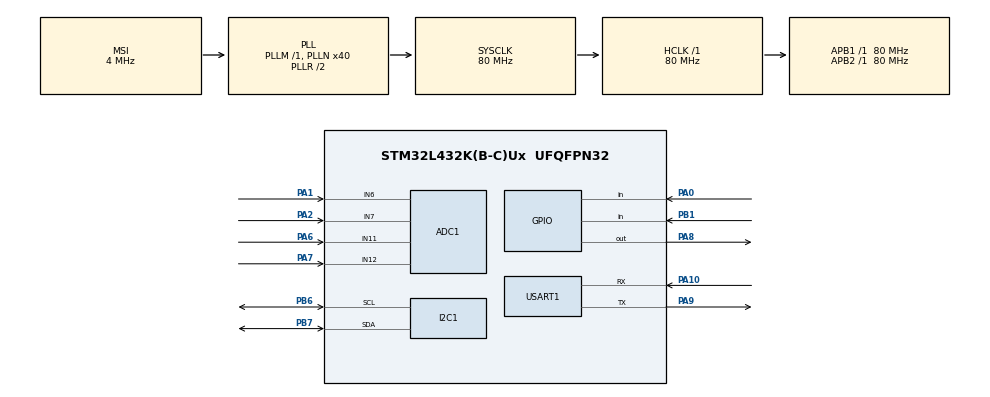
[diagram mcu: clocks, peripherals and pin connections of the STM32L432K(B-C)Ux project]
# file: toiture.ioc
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ADC1.Channel-0\#ChannelRegularConversion=ADC_CHANNEL_11
ADC1.Channel-1\#ChannelRegularConversion=ADC_CHANNEL_6
ADC1.ContinuousConvMode=ENABLE
ADC1.NbrOfConversion=2
ADC1.NbrOfConversionFlag=1
ADC1.OffsetNumber-0\#ChannelRegularConversion=ADC_OFFSET_NONE
ADC1.OffsetNumber-1\#ChannelRegularConversion=ADC_OFFSET_NONE
ADC1.Rank-0\#ChannelRegularConversion=1
ADC1.Rank-1\#ChannelRegularConversion=2
ADC1.SamplingTime-0\#ChannelRegularConversion=ADC_SAMPLETIME_2CYCLES_5
ADC1.SamplingTime-1\#ChannelRegularConversion=ADC_SAMPLETIME_2CYCLES_5
ADC1.SingleDiff-0\#ChannelRegularConversion=ADC_DIFFERENTIAL_ENDED
ADC1.SingleDiff-1\#ChannelRegularConversion=ADC_DIFFERENTIAL_ENDED
ADC1.master=1
Mcu.Family=STM32L4
Mcu.Name=STM32L432K(B-C)Ux
Mcu.Package=UFQFPN32
NVIC.PriorityGroup=NVIC_PRIORITYGROUP_4
PA0.Signal=GPIO_Input
PA1.Signal=ADCx_IN6
PA10.Mode=Asynchronous
PA10.Signal=USART1_RX
PA13\ (JTMS-SWDIO).Mode=Trace_Asynchronous_SW
PA13\ (JTMS-SWDIO).Signal=SYS_JTMS-SWDIO
PA14\ (JTCK-SWCLK).Mode=Trace_Asynchronous_SW
PA14\ (JTCK-SWCLK).Signal=SYS_JTCK-SWCLK
PA2.Signal=ADCx_IN7
PA6.Signal=ADCx_IN11
PA7.Signal=ADCx_IN12
PA8.Signal=GPIO_Output
PA9.Mode=Asynchronous
PA9.Signal=USART1_TX
PB1.Signal=GPIO_Input
PB3\ (JTDO-TRACESWO).Mode=Trace_Asynchronous_SW
PB3\ (JTDO-TRACESWO).Signal=SYS_JTDO-SWO
PB6.Mode=I2C
PB6.Signal=I2C1_SCL
PB7.Mode=I2C
PB7.Signal=I2C1_SDA
PC14-OSC32_IN\ (PC14).Mode=LSE-External-Oscillator
PC14-OSC32_IN\ (PC14).Signal=RCC_OSC32_IN
PC15-OSC32_OUT\ (PC15).Mode=LSE-External-Oscillator
PC15-OSC32_OUT\ (PC15).Signal=RCC_OSC32_OUT
ProjectManager.HeapSize=0x200
ProjectManager.StackSize=0x400
ProjectManager.TargetToolchain=MDK-ARM V5
RCC.ADCFreq_Value=32000000
RCC.AHBFreq_Value=80000000
RCC.APB1Freq_Value=80000000
RCC.APB1TimFreq_Value=80000000
RCC.APB2Freq_Value=80000000
RCC.APB2TimFreq_Value=80000000
RCC.CortexFreq_Value=80000000
RCC.HCLKFreq_Value=80000000
RCC.HSE_VALUE=8000000
RCC.HSI16_VALUE=16000000
RCC.HSI48_VALUE=48000000
RCC.HSI_VALUE=16000000
RCC.MSI_VALUE=4000000
RCC.PLLMUL=RCC_PLLMUL_4
RCC.PLLN=40
RCC.PLLSAI1N=16
RCC.SYSCLKFreq_VALUE=80000000
RCC.SYSCLKSource=RCC_SYSCLKSOURCE_PLLCLK
RCC.USBFreq_Value=32000000
RCC.VCOOutputFreq_Value=160000000
SH.ADCx_IN11.0=ADC1_IN11,IN11-Differential
SH.ADCx_IN12.0=ADC1_IN12,IN11-Differential
SH.ADCx_IN6.0=ADC1_IN6,IN6-Differential
SH.ADCx_IN7.0=ADC1_IN7,IN6-Differential
USART1.VirtualMode-Asynchronous=VM_ASYNC
board=NUCLEO-L432KC

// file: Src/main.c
/* USER CODE BEGIN Header */
/**
  ******************************************************************************
  * @file           : main.c
  * @brief          : Main program body
  ******************************************************************************
  * @attention
  *
  * <h2><center>&copy; Copyright (c) 2019 STMicroelectronics.
  * All rights reserved.</center></h2>
  *
  * This software component is licensed by ST under BSD 3-Clause license,
  * the "License"; You may not use this file except in compliance with the
  * License. You may obtain a copy of the License at:
  *                        opensource.org/licenses/BSD-3-Clause
  *
  ******************************************************************************
  */
/* USER CODE END Header */

#include "main.h"

/* USER CODE BEGIN Includes */
#include "DHT22.h"
#include "dwt_stm32_delay.h"
#include "TCS34725.h"
#include "ds18b20.h"
#include "sigfox.h"
#include <math.h>
/* USER CODE END Includes */

ADC_HandleTypeDef hadc1;

I2C_HandleTypeDef hi2c1;

UART_HandleTypeDef huart1;

/* USER CODE BEGIN PV */
uint8_t dht_hum_l, dht_hum_h, dht_tmp_l, dht_tmp_h;
uint16_t air_hum, soil_hum;
int16_t air_temp, soil_temp;
RGB rgb;
uint8_t lux;
uint32_t val_adc[2];
/* USER CODE END PV */

void SystemClock_Config(void);
static void MX_GPIO_Init(void);
static void MX_ADC1_Init(void);
static void MX_I2C1_Init(void);
static void MX_USART1_UART_Init(void);
/* USER CODE BEGIN PFP */
void user_init(void);
void read_sensors(void);
/* USER CODE END PFP */

int main(void)
{

  /* MCU Configuration--------------------------------------------------------*/

  /* Reset of all peripherals, Initializes the Flash interface and the Systick. */
  HAL_Init();

  /* USER CODE BEGIN Init */
	user_init();
  /* USER CODE END Init */

  /* Configure the system clock */
  SystemClock_Config();

  /* Initialize all configured peripherals */
  MX_GPIO_Init();
  MX_ADC1_Init();
  MX_I2C1_Init();
  MX_USART1_UART_Init();

  /* Infinite loop */
  while (1)
  {
		HAL_GPIO_WritePin(GPIOA, GPIO_PIN_8, GPIO_PIN_RESET);
		read_sensors();
		sigfox_send();
		HAL_GPIO_WritePin(GPIOA, GPIO_PIN_8, GPIO_PIN_SET);
		HAL_Delay(30000);	// Attendre 1 min
  }
}

void SystemClock_Config(void)
{
  RCC_OscInitTypeDef RCC_OscInitStruct = {0};
  RCC_ClkInitTypeDef RCC_ClkInitStruct = {0};
  RCC_PeriphCLKInitTypeDef PeriphClkInit = {0};

  /** Configure LSE Drive Capability
  */
  HAL_PWR_EnableBkUpAccess();
  __HAL_RCC_LSEDRIVE_CONFIG(RCC_LSEDRIVE_LOW);
  /** Initializes the CPU, AHB and APB busses clocks
  */
  RCC_OscInitStruct.OscillatorType = RCC_OSCILLATORTYPE_LSE|RCC_OSCILLATORTYPE_MSI;
  RCC_OscInitStruct.LSEState = RCC_LSE_ON;
  RCC_OscInitStruct.MSIState = RCC_MSI_ON;
  RCC_OscInitStruct.MSICalibrationValue = 0;
  RCC_OscInitStruct.MSIClockRange = RCC_MSIRANGE_6;
  RCC_OscInitStruct.PLL.PLLState = RCC_PLL_ON;
  RCC_OscInitStruct.PLL.PLLSource = RCC_PLLSOURCE_MSI;
  RCC_OscInitStruct.PLL.PLLM = 1;
  RCC_OscInitStruct.PLL.PLLN = 40;
  RCC_OscInitStruct.PLL.PLLP = RCC_PLLP_DIV7;
  RCC_OscInitStruct.PLL.PLLQ = RCC_PLLQ_DIV2;
  RCC_OscInitStruct.PLL.PLLR = RCC_PLLR_DIV2;
  if (HAL_RCC_OscConfig(&RCC_OscInitStruct) != HAL_OK)
  {
    Error_Handler();
  }
  /** Initializes the CPU, AHB and APB busses clocks
  */
  RCC_ClkInitStruct.ClockType = RCC_CLOCKTYPE_HCLK|RCC_CLOCKTYPE_SYSCLK
                              |RCC_CLOCKTYPE_PCLK1|RCC_CLOCKTYPE_PCLK2;
  RCC_ClkInitStruct.SYSCLKSource = RCC_SYSCLKSOURCE_PLLCLK;
  RCC_ClkInitStruct.AHBCLKDivider = RCC_SYSCLK_DIV1;
  RCC_ClkInitStruct.APB1CLKDivider = RCC_HCLK_DIV1;
  RCC_ClkInitStruct.APB2CLKDivider = RCC_HCLK_DIV1;

  if (HAL_RCC_ClockConfig(&RCC_ClkInitStruct, FLASH_LATENCY_4) != HAL_OK)
  {
    Error_Handler();
  }
  PeriphClkInit.PeriphClockSelection = RCC_PERIPHCLK_USART1|RCC_PERIPHCLK_I2C1
                              |RCC_PERIPHCLK_ADC;
  PeriphClkInit.Usart1ClockSelection = RCC_USART1CLKSOURCE_PCLK2;
  PeriphClkInit.I2c1ClockSelection = RCC_I2C1CLKSOURCE_PCLK1;
  PeriphClkInit.AdcClockSelection = RCC_ADCCLKSOURCE_PLLSAI1;
  PeriphClkInit.PLLSAI1.PLLSAI1Source = RCC_PLLSOURCE_MSI;
  PeriphClkInit.PLLSAI1.PLLSAI1M = 1;
  PeriphClkInit.PLLSAI1.PLLSAI1N = 16;
  PeriphClkInit.PLLSAI1.PLLSAI1P = RCC_PLLP_DIV7;
  PeriphClkInit.PLLSAI1.PLLSAI1Q = RCC_PLLQ_DIV2;
  PeriphClkInit.PLLSAI1.PLLSAI1R = RCC_PLLR_DIV2;
  PeriphClkInit.PLLSAI1.PLLSAI1ClockOut = RCC_PLLSAI1_ADC1CLK;
  if (HAL_RCCEx_PeriphCLKConfig(&PeriphClkInit) != HAL_OK)
  {
    Error_Handler();
  }
  /** Configure the main internal regulator output voltage
  */
  if (HAL_PWREx_ControlVoltageScaling(PWR_REGULATOR_VOLTAGE_SCALE1) != HAL_OK)
  {
    Error_Handler();
  }
  /** Enable MSI Auto calibration
  */
  HAL_RCCEx_EnableMSIPLLMode();
}

static void MX_ADC1_Init(void)
{

  ADC_ChannelConfTypeDef sConfig = {0};

  /** Common config
  */
  hadc1.Instance = ADC1;
  hadc1.Init.ClockPrescaler = ADC_CLOCK_ASYNC_DIV1;
  hadc1.Init.Resolution = ADC_RESOLUTION_12B;
  hadc1.Init.DataAlign = ADC_DATAALIGN_RIGHT;
  hadc1.Init.ScanConvMode = ADC_SCAN_ENABLE;
  hadc1.Init.EOCSelection = ADC_EOC_SINGLE_CONV;
  hadc1.Init.LowPowerAutoWait = DISABLE;
  hadc1.Init.ContinuousConvMode = ENABLE;
  hadc1.Init.NbrOfConversion = 2;
  hadc1.Init.DiscontinuousConvMode = DISABLE;
  hadc1.Init.ExternalTrigConv = ADC_SOFTWARE_START;
  hadc1.Init.ExternalTrigConvEdge = ADC_EXTERNALTRIGCONVEDGE_NONE;
  hadc1.Init.DMAContinuousRequests = DISABLE;
  hadc1.Init.Overrun = ADC_OVR_DATA_PRESERVED;
  hadc1.Init.OversamplingMode = DISABLE;
  if (HAL_ADC_Init(&hadc1) != HAL_OK)
  {
    Error_Handler();
  }
  /** Configure Regular Channel
  */
  sConfig.Channel = ADC_CHANNEL_6;
  sConfig.Rank = ADC_REGULAR_RANK_1;
  sConfig.SamplingTime = ADC_SAMPLETIME_2CYCLES_5;
  sConfig.SingleDiff = ADC_DIFFERENTIAL_ENDED;
  sConfig.OffsetNumber = ADC_OFFSET_NONE;
  sConfig.Offset = 0;
  if (HAL_ADC_ConfigChannel(&hadc1, &sConfig) != HAL_OK)
  {
    Error_Handler();
  }
  /** Configure Regular Channel
  */
  sConfig.Channel = ADC_CHANNEL_11;
  sConfig.Rank = ADC_REGULAR_RANK_2;
  if (HAL_ADC_ConfigChannel(&hadc1, &sConfig) != HAL_OK)
  {
    Error_Handler();
  }

}

static void MX_I2C1_Init(void)
{

  hi2c1.Instance = I2C1;
  hi2c1.Init.Timing = 0x10909CEC;
  hi2c1.Init.OwnAddress1 = 0;
  hi2c1.Init.AddressingMode = I2C_ADDRESSINGMODE_7BIT;
  hi2c1.Init.DualAddressMode = I2C_DUALADDRESS_DISABLE;
  hi2c1.Init.OwnAddress2 = 0;
  hi2c1.Init.OwnAddress2Masks = I2C_OA2_NOMASK;
  hi2c1.Init.GeneralCallMode = I2C_GENERALCALL_DISABLE;
  hi2c1.Init.NoStretchMode = I2C_NOSTRETCH_DISABLE;
  if (HAL_I2C_Init(&hi2c1) != HAL_OK)
  {
    Error_Handler();
  }
  /** Configure Analogue filter
  */
  if (HAL_I2CEx_ConfigAnalogFilter(&hi2c1, I2C_ANALOGFILTER_ENABLE) != HAL_OK)
  {
    Error_Handler();
  }
  /** Configure Digital filter
  */
  if (HAL_I2CEx_ConfigDigitalFilter(&hi2c1, 0) != HAL_OK)
  {
    Error_Handler();
  }

}

static void MX_USART1_UART_Init(void)
{

  huart1.Instance = USART1;
  huart1.Init.BaudRate = 9600;
  huart1.Init.WordLength = UART_WORDLENGTH_8B;
  huart1.Init.StopBits = UART_STOPBITS_1;
  huart1.Init.Parity = UART_PARITY_NONE;
  huart1.Init.Mode = UART_MODE_TX_RX;
  huart1.Init.HwFlowCtl = UART_HWCONTROL_NONE;
  huart1.Init.OverSampling = UART_OVERSAMPLING_16;
  huart1.Init.OneBitSampling = UART_ONE_BIT_SAMPLE_DISABLE;
  huart1.AdvancedInit.AdvFeatureInit = UART_ADVFEATURE_NO_INIT;
  if (HAL_UART_Init(&huart1) != HAL_OK)
  {
    Error_Handler();
  }

}

static void MX_GPIO_Init(void)
{
  GPIO_InitTypeDef GPIO_InitStruct = {0};

  /* GPIO Ports Clock Enable */
  __HAL_RCC_GPIOC_CLK_ENABLE();
  __HAL_RCC_GPIOA_CLK_ENABLE();
  __HAL_RCC_GPIOB_CLK_ENABLE();

  /*Configure GPIO pin Output Level */
  HAL_GPIO_WritePin(GPIOA, GPIO_PIN_8, GPIO_PIN_RESET);

  /*Configure GPIO pin : PA0 */
  GPIO_InitStruct.Pin = GPIO_PIN_0;
  GPIO_InitStruct.Mode = GPIO_MODE_INPUT;
  GPIO_InitStruct.Pull = GPIO_NOPULL;
  HAL_GPIO_Init(GPIOA, &GPIO_InitStruct);

  /*Configure GPIO pin : PB1 */
  GPIO_InitStruct.Pin = GPIO_PIN_1;
  GPIO_InitStruct.Mode = GPIO_MODE_INPUT;
  GPIO_InitStruct.Pull = GPIO_NOPULL;
  HAL_GPIO_Init(GPIOB, &GPIO_InitStruct);

  /*Configure GPIO pin : PA8 */
  GPIO_InitStruct.Pin = GPIO_PIN_8;
  GPIO_InitStruct.Mode = GPIO_MODE_OUTPUT_PP;
  GPIO_InitStruct.Pull = GPIO_NOPULL;
  GPIO_InitStruct.Speed = GPIO_SPEED_FREQ_LOW;
  HAL_GPIO_Init(GPIOA, &GPIO_InitStruct);

}

/* USER CODE BEGIN 4 */
void user_init(void)
{
	DWT_Delay_Init();
	HAL_ADC_Start_DMA(&hadc1, val_adc, 2);
}

void read_sensors(void)
{
	float adc_percent, tmp;

	dht_read();
	air_hum = dht_hum();
	air_temp = dht_tmp();

	rgb = TCS34725_Get_RGBData();

	soil_temp = ds18b20_temp();
	adc_percent = (float)val_adc[0] / 4095;	// Convertir la valeur d'adc a une valeur entre 0 et 1
	tmp = ((adc_percent-GROVE_MOIST_MIN) / (GROVE_MOIST_MAX - GROVE_MOIST_MIN)) * 100;
	soil_hum = tmp * 10;

	adc_percent = (float)val_adc[1] / 4095;
	tmp = adc_percent*LOG_RANGE;
	tmp = pow(10,tmp)*255/10000;
	lux = tmp;
}
/* USER CODE END 4 */

void Error_Handler(void)
{
}

/************************ (C) COPYRIGHT STMicroelectronics *****END OF FILE****/
